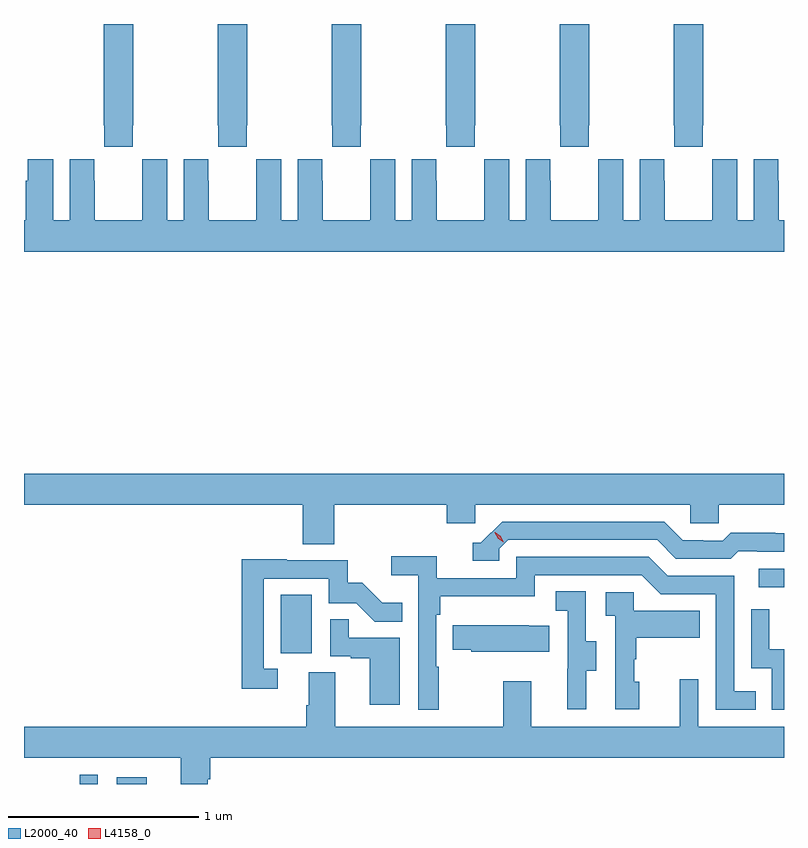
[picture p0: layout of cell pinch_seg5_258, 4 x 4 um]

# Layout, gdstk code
import gdstk
lib = gdstk.Library(unit=1e-6, precision=1e-09)
def R(c, l, rs):  # rectangles x0, y0, x1, y1
    for r in rs: c.add(gdstk.rectangle(r[:2], r[2:], *l))
def P(c, l, *ps):  # polygons
    for p in ps: c.add(gdstk.Polygon(p, *l))
L2000_40 = (2000, 40)
L4158_0 = (4158, 0)

pinch_seg5_258 = lib.new_cell('pinch_seg5_258')
R(pinch_seg5_258, L2000_40, [(897.528,909.902,897.624,909.952), (897.722,909.902,897.88,909.937), (898.586,910.59,898.75,910.897), (901.101,910.938,901.235,911.034)])
P(pinch_seg5_258, L2000_40, [(897.807,913.369),(897.81,913.369),(897.81,913.902),(897.655,913.902),(897.655,913.369),(897.657,913.369),(897.657,913.257),(897.807,913.257)],
  [(898.407,913.369),(898.41,913.369),(898.41,913.902),(898.255,913.902),(898.255,913.369),(898.257,913.369),(898.257,913.257),(898.407,913.257)],
  [(899.007,913.369),(899.01,913.369),(899.01,913.902),(898.855,913.902),(898.855,913.369),(898.857,913.369),(898.857,913.257),(899.007,913.257)],
  [(899.607,913.369),(899.61,913.369),(899.61,913.902),(899.455,913.902),(899.455,913.369),(899.457,913.369),(899.457,913.257),(899.607,913.257)],
  [(900.207,913.369),(900.21,913.369),(900.21,913.902),(900.055,913.902),(900.055,913.369),(900.057,913.369),(900.057,913.257),(900.207,913.257)],
  [(900.807,913.369),(900.81,913.369),(900.81,913.902),(900.655,913.902),(900.655,913.369),(900.657,913.369),(900.657,913.257),(900.807,913.257)],
  [(901.235,912.868),(901.207,912.868),(901.207,913.076),(901.206,913.076),(901.206,913.189),(901.076,913.189),(901.076,912.868),(900.988,912.868),(900.988,913.189),(900.858,913.189),(900.858,913.076),(900.857,913.076),(900.857,912.868),(900.607,912.868),(900.607,913.076),(900.606,913.076),(900.606,913.189),(900.476,913.189),(900.476,912.868),(900.388,912.868),(900.388,913.189),(900.258,913.189),(900.258,913.076),(900.257,913.076),(900.257,912.868),(900.007,912.868),(900.007,913.076),(900.006,913.076),(900.006,913.189),(899.876,913.189),(899.876,912.868),(899.788,912.868),(899.788,913.189),(899.658,913.189),(899.658,913.076),(899.657,913.076),(899.657,912.868),(899.407,912.868),(899.407,913.076),(899.406,913.076),(899.406,913.189),(899.276,913.189),(899.276,912.868),(899.188,912.868),(899.188,913.189),(899.058,913.189),(899.058,913.076),(899.057,913.076),(899.057,912.868),(898.807,912.868),(898.807,913.076),(898.806,913.076),(898.806,913.189),(898.676,913.189),(898.676,912.868),(898.588,912.868),(898.588,913.189),(898.458,913.189),(898.458,913.076),(898.457,913.076),(898.457,912.868),(898.207,912.868),(898.207,913.076),(898.206,913.076),(898.206,913.189),(898.076,913.189),(898.076,912.868),(897.988,912.868),(897.988,913.189),(897.858,913.189),(897.858,913.076),(897.857,913.076),(897.857,912.868),(897.607,912.868),(897.607,913.076),(897.606,913.076),(897.606,913.189),(897.476,913.189),(897.476,912.868),(897.388,912.868),(897.388,913.189),(897.254,913.189),(897.254,913.076),(897.245,913.076),(897.245,912.868),(897.235,912.868),(897.235,912.704),(901.235,912.704)],
  [(898.868,911.372),(899.459,911.372),(899.459,911.274),(899.61,911.274),(899.61,911.372),(900.741,911.372),(900.741,911.274),(900.891,911.274),(900.891,911.372),(901.235,911.372),(901.235,911.536),(897.235,911.536),(897.235,911.372),(898.703,911.372),(898.703,911.164),(898.868,911.164)],
  [(899.736,911.139),(899.784,911.187),(900.567,911.187),(900.666,911.088),(900.955,911.088),(900.994,911.127),(901.093,911.127),(901.093,911.124),(901.235,911.124),(901.235,911.221),(901.188,911.221),(901.188,911.224),(900.955,911.224),(900.913,911.181),(900.81,911.181),(900.81,911.184),(900.703,911.184),(900.604,911.283),(899.751,911.283),(899.64,911.172),(899.597,911.172),(899.597,911.076),(899.736,911.076)],
  [(899.419,910.52),(899.406,910.52),(899.406,910.793),(899.426,910.793),(899.426,910.889),(899.922,910.889),(899.922,911.001),(900.486,911.001),(900.585,910.902),(900.876,910.902),(900.876,910.293),(901.085,910.293),(901.085,910.389),(900.972,910.389),(900.972,910.998),(900.622,910.998),(900.523,911.097),(899.826,911.097),(899.826,910.986),(899.408,910.986),(899.408,911.102),(899.169,911.102),(899.169,911),(899.31,911),(899.31,910.293),(899.419,910.293)],
  [(898.57,910.509),(898.497,910.509),(898.497,910.983),(898.839,910.983),(898.839,910.854),(898.983,910.854),(899.081,910.756),(899.225,910.756),(899.225,910.855),(899.121,910.855),(899.014,910.962),(898.938,910.962),(898.938,911.079),(898.619,911.079),(898.619,911.084),(898.381,911.084),(898.381,910.404),(898.57,910.404)],
  [(900.193,910.498),(900.247,910.498),(900.247,910.653),(900.192,910.653),(900.192,910.916),(900.033,910.916),(900.033,910.813),(900.096,910.813),(900.096,910.509),(900.095,910.509),(900.095,910.296),(900.193,910.296)],
  [(900.472,910.44),(900.447,910.44),(900.447,910.559),(900.457,910.559),(900.457,910.673),(900.791,910.673),(900.791,910.813),(900.444,910.813),(900.444,910.911),(900.297,910.911),(900.297,910.787),(900.348,910.787),(900.348,910.296),(900.472,910.296)],
  [(901.235,910.61),(901.158,910.61),(901.158,910.822),(901.062,910.822),(901.062,910.512),(901.17,910.512),(901.17,910.293),(901.235,910.293)],
  [(899.212,910.671),(898.943,910.671),(898.943,910.769),(898.848,910.769),(898.848,910.575),(898.955,910.575),(898.955,910.563),(899.054,910.563),(899.054,910.32),(899.212,910.32)],
  [(899.999,910.735),(899.891,910.735),(899.891,910.738),(899.491,910.738),(899.491,910.609),(899.589,910.609),(899.589,910.598),(899.999,910.598)],
  [(898.201,909.928),(898.214,909.928),(898.214,910.04),(901.235,910.04),(901.235,910.204),(900.783,910.204),(900.783,910.453),(900.686,910.453),(900.686,910.204),(899.905,910.204),(899.905,910.444),(899.758,910.444),(899.758,910.204),(898.873,910.204),(898.873,910.49),(898.733,910.49),(898.733,910.316),(898.721,910.316),(898.721,910.204),(897.235,910.204),(897.235,910.04),(898.061,910.04),(898.061,909.902),(898.201,909.902)])
P(pinch_seg5_258, L4158_0, [(899.76,911.174),(899.73,911.193),(899.713,911.225),(899.713,911.226),(899.714,911.226),(899.744,911.206),(899.761,911.174),(899.761,911.174)])

lib.write_gds('pinch_seg5_258.gds')
